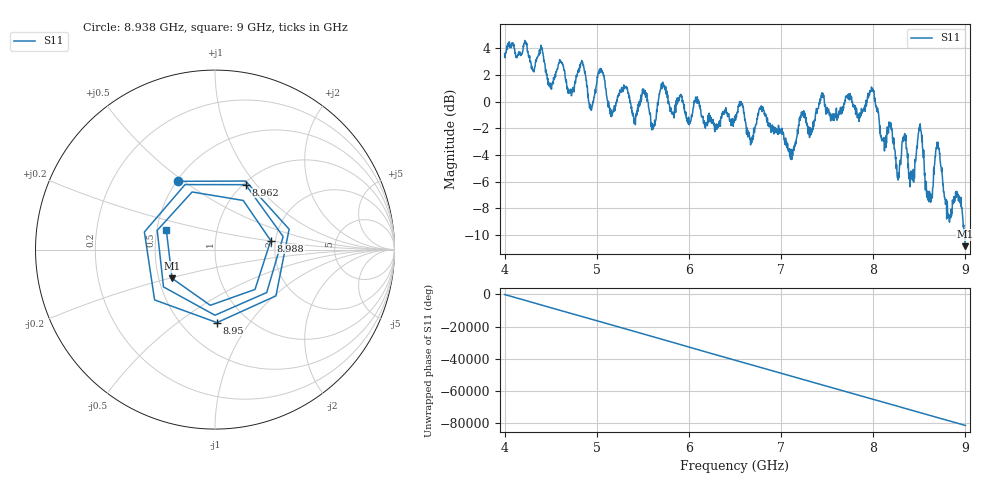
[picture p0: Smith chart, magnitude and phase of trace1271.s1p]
! Created with skrf 1.8.0 (http://scikit-rf.org).
# Hz S RI R 50.0
!freq ReS11 ImS11
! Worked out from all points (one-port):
!   1601 points, 4 GHz to 9 GHz, reference 50 ohm
!   lowest |S11| = -10.8 dB at 8.997 GHz (marker M1), VSWR 1.81, Z = 29.4 - j10.3 ohm
!   |S11| at or under -10 dB: 8.983946 GHz to end of sweep
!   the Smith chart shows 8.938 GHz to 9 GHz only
!   S11 on the Smith chart (normalised r, x): 8.938 GHz: 0.51, +0.48; 8.95 GHz: 0.73, -0.71; 8.962 GHz: 1.03, +0.88; 8.988 GHz: 1.88, +0.21; 9 GHz: 0.56, +0.13
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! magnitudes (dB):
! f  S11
! 4 GHz  3.6
! 4.625 GHz  2.9
! 4.716 GHz  0.7
! 4.841 GHz  3.0
! 4.934 GHz  -0.5
! 5.038 GHz  2.4
! 5.162 GHz  -1.0
! 5.25 GHz  0.9
! 5.612 GHz  -2.1
! 5.709 GHz  1.3
! 5.875 GHz  -0.1
! 6.5 GHz  -1.3
! 7.125 GHz  -4.0
! 7.222 GHz  -0.8
! 7.75 GHz  0.6
! 7.988 GHz  0.8
! 8.262 GHz  -5.7
! 8.375 GHz  -3.9
! 8.506 GHz  -2.0
! 8.603 GHz  -7.5
! 8.697 GHz  -3.4
! 8.822 GHz  -8.7
! 8.938 GHz  -7.3
! 8.95 GHz  -7.8
! 8.962 GHz  -8.0
! 8.988 GHz  -10.0
! 8.997 GHz  -10.8
! 9 GHz  -10.7
